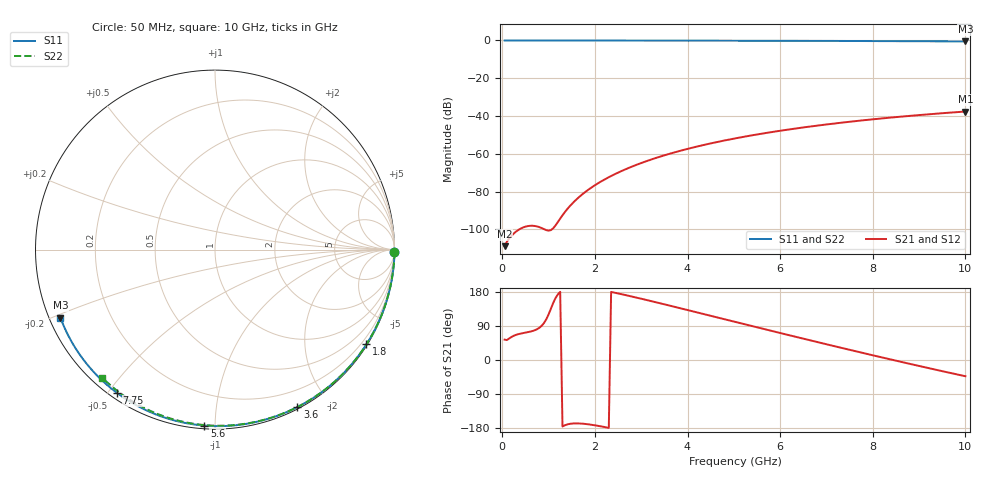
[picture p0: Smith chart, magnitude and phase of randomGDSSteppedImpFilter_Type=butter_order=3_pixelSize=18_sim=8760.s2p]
! freq	dB(S11)	phase(S11)	dB(S12)	phase(S12)
!  dB(S21)	phase(S21)	dB(S22)	phase(S22)
!S-par simulation data
#  GHz  S  DB  R 50
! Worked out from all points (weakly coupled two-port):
!   200 points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, 50 MHz to 10 GHz, reference 50 ohm
!   highest |S21| = -37.59 dB at 10 GHz (marker M1); lowest = -108.8 dB at 50 MHz (marker M2)
!   lowest |S11| = -0.5 dB at 10 GHz (marker M3), VSWR 32.85, Z = 1.59 - j10.5 ohm
!   |S11| at or under -10 dB: nowhere
!   |S22| runs from -0.4 to 0.0 dB; largest |S21 - S12| = 0
!   S11 on the Smith chart (normalised r, x): 50 MHz: open; 1.8 GHz: 0.03, -3.48; 3.6 GHz: 0.02, -1.65; 5.6 GHz: 0.02, -0.94; 7.75 GHz: 0.02, -0.53; 10 GHz: 0.03, -0.21
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0.05  -0.00 -0.9  -108.83 53.8  -108.83 53.8  -0.00 -0.8
0.45  -0.01 -8.1  -98.92 71.1  -98.92 71.1  -0.01 -6.8
0.85  -0.02 -15.3  -99.25 90.2  -99.25 90.2  -0.02 -12.8
1.3  -0.03 -23.3  -92.49 -175.5  -92.49 -175.5  -0.02 -19.6
1.75  -0.04 -31.2  -80.96 -168.2  -80.96 -168.2  -0.03 -26.2
1.8  -0.04 -32.0  -80.01 -168.8  -80.01 -168.8  -0.03 -26.9
1.95  -0.04 -34.6  -77.40 -171.3  -77.40 -171.3  -0.04 -29.1
2.1  -0.05 -37.2  -75.08 -174.4  -75.08 -174.4  -0.04 -31.3
2.3  -0.05 -40.6  -72.34 -179.1  -72.34 -179.1  -0.04 -34.2
2.5  -0.06 -44.1  -69.92 175.7  -69.92 175.7  -0.05 -37.1
2.9  -0.07 -50.8  -65.77 164.6  -65.77 164.6  -0.06 -42.8
3.4  -0.08 -59.1  -61.52 149.9  -61.52 149.9  -0.07 -49.9
3.6  -0.08 -62.4  -60.04 144.0  -60.04 144.0  -0.07 -52.7
4.3  -0.10 -73.6  -55.57 122.7  -55.57 122.7  -0.09 -62.2
5.05  -0.13 -85.2  -51.71 99.9  -51.71 99.9  -0.11 -72.2
5.6  -0.16 -93.5  -49.32 83.3  -49.32 83.3  -0.13 -79.3
6.15  -0.18 -101.6  -47.23 66.7  -47.23 66.7  -0.15 -86.3
6.7  -0.21 -109.6  -45.37 50.3  -45.37 50.3  -0.18 -93.0
7.75  -0.29 -124.5  -42.35 19.6  -42.35 19.6  -0.24 -105.6
8.35  -0.34 -132.9  -40.89 2.4  -40.89 2.4  -0.29 -112.6
9.2  -0.43 -144.8  -39.07 -21.3  -39.07 -21.3  -0.36 -122.4
10  -0.53 -156.2  -37.59 -42.9  -37.59 -42.9  -0.44 -131.4
